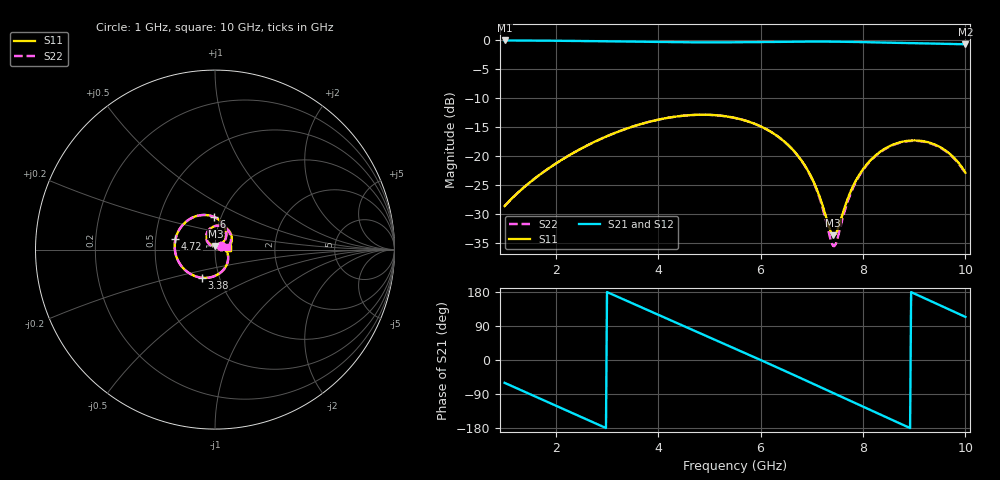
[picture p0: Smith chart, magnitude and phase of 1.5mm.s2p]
! Touchstone file exported from HFSS 2018.2.0
!  File:  C:/Users/10024/OneDrive - The University of Nottingham Ningbo China/Year 4/Final Year Project/HFSS project/Passive_Resonator_Antenna.aedt
!  Generated:  5:07:53 下午  3月 11, 2022
!  Design:  SMA_Thru
!  Project:  Passive_Resonator_Antenna
!  Setup:  Setup1
!  Solution:  Sweep
! Variables:
!  MW = 1.5mm
!  ThruL = 10mm
!  g = 0.2mm
!  subH = 0.8mm
!  subX = 20mm
!  subY = 20mm
!  tapW = 1.992mm
# GHZ S MA R 50.000000
! Modal data exported
! Port[1] = SMA_CONNECTOR1_1:1
! Port[2] = SMA_CONNECTOR2_1:1
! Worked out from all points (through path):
!   451 points, 1 GHz to 10 GHz, reference 50 ohm
!   highest |S21| = -0.02 dB at 1 GHz (marker M1); lowest = -0.7 dB at 10 GHz (marker M2)
!   group delay of S21, straight-line fit = 168 ps
!   lowest |S11| = -33.6 dB at 7.42 GHz (marker M3), VSWR 1.04, Z = 50.1 + j2.08 ohm
!   |S11| at or under -10 dB: start of sweep to end of sweep
!   |S22| runs from -35.5 to -12.8 dB; largest |S21 - S12| = 1.8e-14
!   S11 on the Smith chart (normalised r, x): 1 GHz: 1.07, +0.04; 3.38 GHz: 0.82, -0.27; 4.72 GHz: 0.64, +0.08; 6 GHz: 0.93, +0.35; 10 GHz: 1.15, +0.02
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1  0.03724 29.8  0.998 -60.2  0.998 -60.2  0.03725 29.1
! Gamma ! 0.015185838009173 30.3716836111866 0.0151858380090861 30.3716836111786
! Port Impedance50 0 50 0
1.38  0.05413 6.1  0.9963 -83.2  0.9963 -83.2  0.05414 6.0
1.72  0.07115 -14.8  0.9943 -103.6  0.9943 -103.6  0.07115 -14.6
2.08  0.0912 -36.9  0.9915 -125.4  0.9915 -125.4  0.09119 -36.5
2.5  0.1168 -62.4  0.9874 -150.7  0.9874 -150.7  0.1168 -62.0
2.94  0.1452 -89.0  0.982 -177.1  0.982 -177.1  0.1452 -88.5
3.38  0.1732 -115.4  0.976 156.5  0.976 156.5  0.1732 -115.0
4  0.207 -152.2  0.9676 119.4  0.9676 119.4  0.2069 -152.0
4.36  0.2206 -173.4  0.9637 97.9  0.9637 97.9  0.2206 -173.3
4.72  0.2277 165.5  0.9611 76.5  0.9611 76.5  0.2277 165.5
5.1  0.2266 143.4  0.9605 53.9  0.9605 53.9  0.2266 143.2
5.5  0.2142 120.2  0.9622 30.1  0.9622 30.1  0.2142 119.8
6  0.1813 91.5  0.9672 0.0  0.9672 0.0  0.1813 90.8
6.48  0.1321 65.0  0.9728 -29.2  0.9728 -29.2  0.1319 63.7
7  0.065 42.8  0.9761 -61.1  0.9761 -61.1  0.06423 39.7
7.42  0.0208 84.7  0.9746 -87.2  0.9746 -87.2  0.01683 82.9
7.9  0.06619 130.1  0.968 -116.9  0.968 -116.9  0.06461 133.8
8.5  0.1211 101.5  0.9553 -153.9  0.9553 -153.9  0.12 103.7
8.86  0.1358 80.5  0.9476 -176.0  0.9476 -176.0  0.1347 82.6
9.2  0.1344 59.7  0.9411 163.2  0.9411 163.2  0.1333 62.0
9.64  0.1098 31.5  0.933 136.1  0.933 136.1  0.1087 34.5
10  0.07219 6.6  0.9253 113.7  0.9253 113.7  0.07084 11.4
